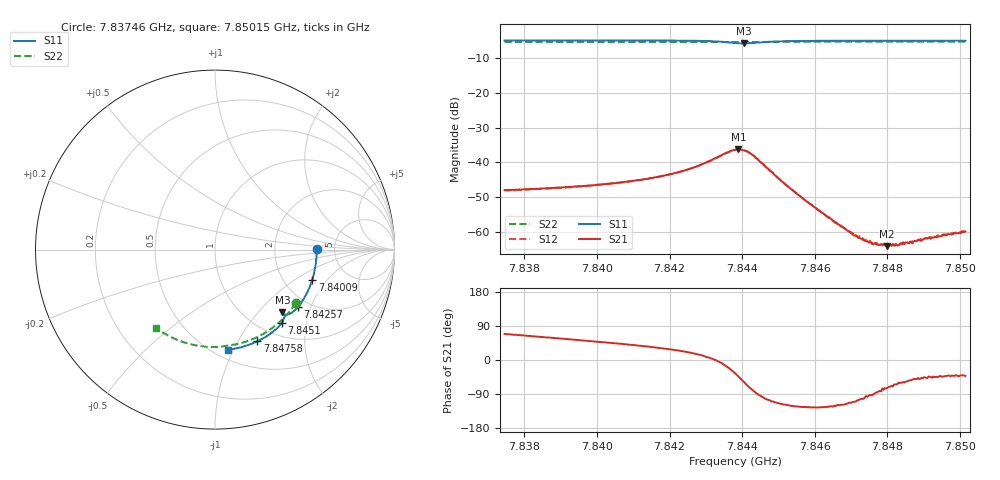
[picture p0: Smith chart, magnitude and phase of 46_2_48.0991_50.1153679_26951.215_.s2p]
#  HZ  S  RI  R  50.00
! Rohde & Schwarz Vector Network Analyzer
! Rohde-Schwarz,ZNB20-2Port,1311601062101988,3.16
! Created: UTC 12/23/2023, 3:39:17 AM
! freq[Hz]  re:S11  im:S11  re:S21  im:S21  re:S12  im:S12  re:S22  im:S22
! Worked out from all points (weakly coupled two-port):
!   401 points, 7.83746 GHz to 7.85015 GHz, reference 50 ohm
!   highest |S21| = -36.24 dB at 7.8439 GHz (marker M1); lowest = -64.1 dB at 7.84799 GHz (marker M2)
!   lowest |S11| = -5.8 dB at 7.84406 GHz (marker M3), VSWR 3.11, Z = 71.9 - j68.4 ohm
!   |S11| at or under -10 dB: nowhere
!   |S22| runs from -5.4 to -5.3 dB; largest |S21 - S12| = 0.00032
!   S11 on the Smith chart (normalised r, x): 7.83746 GHz: 3.61, +0.05; 7.84009 GHz: 2.84, -1.41; 7.84257 GHz: 1.74, -1.63; 7.8451 GHz: 1.24, -1.46; 7.84758 GHz: 0.81, -1.21; 7.85015 GHz: 0.58, -0.95
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7.83746e9  0.5665 0.00436  0.00145 0.00373  0.00144 0.00368  0.4503 -0.2978
7.839585e9  0.5504 -0.1361  0.00283 0.00358  0.0028 0.00357  0.3526 -0.4098
7.840092e9  0.5413 -0.1691  0.00325 0.00354  0.0032 0.00356  0.3249 -0.4322
7.84171e9  0.4965 -0.2706  0.00532 0.00329  0.00527 0.00331  0.2281 -0.491
7.842566e9  0.4606 -0.3217  0.00766 0.00272  0.00763 0.00272  0.172 -0.5134
7.843359e9  0.4109 -0.3601  0.0122 -0.000943  0.012 -0.000904  0.118 -0.5276
7.843803e9  0.3786 -0.3589  0.0125 -0.0086  0.0125 -0.00858  0.0881 -0.5318
7.843898e9  0.3756 -0.355  0.0111 -0.0107  0.0112 -0.0105  0.0823 -0.5327
7.844056e9  0.3759 -0.3501  0.00785 -0.0128  0.00777 -0.0126  0.0722 -0.534
7.844342e9  0.3849 -0.3557  0.00138 -0.0122  0.00123 -0.0121  0.054 -0.5376
7.845103e9  0.3726 -0.407  -0.00236 -0.00474  -0.00233 -0.00476  0.00115 -0.5427
7.845928e9  0.3316 -0.451  -0.00138 -0.00197  -0.0014 -0.00199  -0.0574 -0.5407
7.846562e9  0.2959 -0.4775  -0.000717 -0.00114  -0.000725 -0.0012  -0.1015 -0.5346
7.846974e9  0.2719 -0.4924  -0.000391 -0.000923  -0.000392 -0.00091  -0.1298 -0.5287
7.84726e9  0.2549 -0.5016  -0.000196 -0.000782  -0.00021 -0.000779  -0.1493 -0.5238
7.847577e9  0.2357 -0.5112  -3.81e-05 -0.000673  -6.33e-06 -0.000693  -0.1707 -0.5174
7.847989e9  0.2102 -0.5224  0.000173 -0.000601  0.000197 -0.000609  -0.198 -0.5078
7.848052e9  0.2062 -0.5239  0.000217 -0.000604  0.000214 -0.000635  -0.202 -0.506
7.848274e9  0.1923 -0.5293  0.000287 -0.000568  0.000286 -0.000595  -0.2166 -0.5002
7.848592e9  0.1721 -0.5362  0.000404 -0.000556  0.000401 -0.000555  -0.2369 -0.4912
7.849099e9  0.1395 -0.5454  0.000544 -0.000596  0.000564 -0.000588  -0.2686 -0.4749
7.850146e9  0.071 -0.5581  0.000751 -0.000686  0.000778 -0.00072  -0.3301 -0.4351
